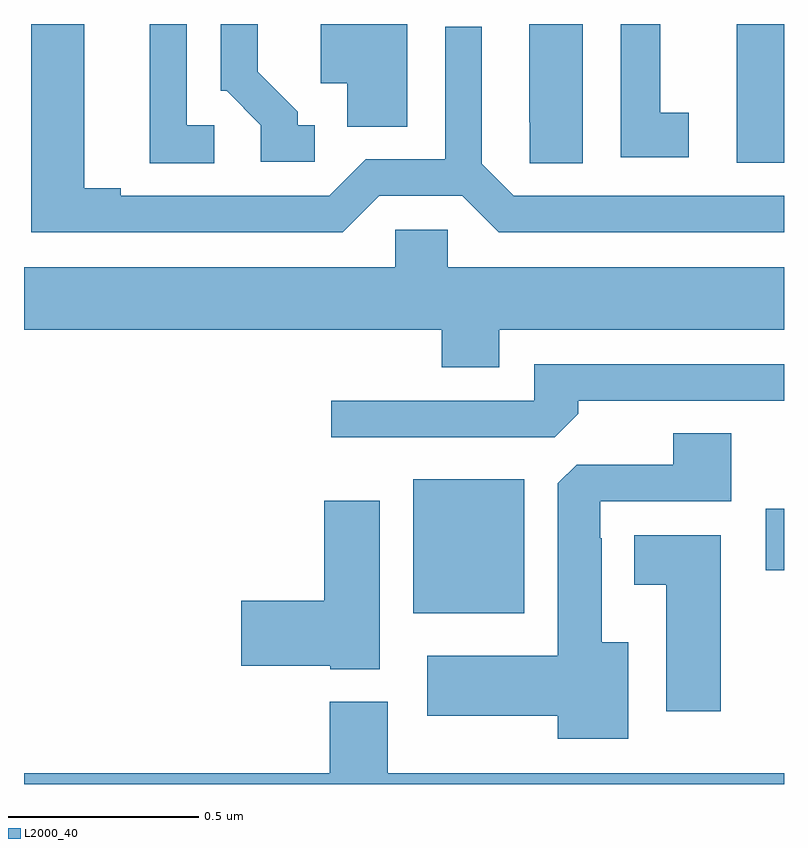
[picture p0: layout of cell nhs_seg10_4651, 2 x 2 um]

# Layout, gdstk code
import gdstk
lib = gdstk.Library(unit=1e-6, precision=1e-09)
def R(c, l, rs):  # rectangles x0, y0, x1, y1
    for r in rs: c.add(gdstk.rectangle(r[:2], r[2:], *l))
def P(c, l, *ps):  # polygons
    for p in ps: c.add(gdstk.Polygon(p, *l))
L2000_40 = (2000, 40)

nhs_seg10_4651 = lib.new_cell('nhs_seg10_4651')
R(nhs_seg10_4651, L2000_40, [(170.024,1252.949,170.317,1253.302), (170.952,1253.062,171,1253.224), (170.876,1254.135,171,1254.5)])
P(nhs_seg10_4651, L2000_40, [(170.008,1254.5),(169.781,1254.5),(169.781,1254.344),(169.85,1254.344),(169.85,1254.229),(170.008,1254.229)],
  [(169.935,1254.048),(170.153,1254.048),(170.249,1253.952),(171,1253.952),(171,1254.048),(170.289,1254.048),(170.205,1254.132),(170.205,1254.493),(170.109,1254.493),(170.109,1254.144),(169.899,1254.144),(169.803,1254.048),(169.255,1254.048),(169.255,1254.068),(169.159,1254.068),(169.159,1254.5),(169.019,1254.5),(169.019,1253.952),(169.839,1253.952)],
  [(169.501,1254.234),(169.428,1254.234),(169.428,1254.5),(169.331,1254.5),(169.331,1254.133),(169.501,1254.133)],
  [(169.765,1254.234),(169.72,1254.234),(169.72,1254.269),(169.615,1254.374),(169.615,1254.5),(169.518,1254.5),(169.518,1254.324),(169.533,1254.324),(169.623,1254.234),(169.623,1254.138),(169.765,1254.138)],
  [(170.749,1254.266),(170.674,1254.266),(170.674,1254.5),(170.57,1254.5),(170.57,1254.15),(170.749,1254.15)],
  [(170.47,1254.5),(170.33,1254.5),(170.33,1254.241),(170.331,1254.241),(170.331,1254.133),(170.47,1254.133)],
  [(170.251,1253.696),(171,1253.696),(171,1253.86),(170.115,1253.86),(170.115,1253.958),(169.977,1253.958),(169.977,1253.86),(169,1253.86),(169,1253.696),(170.099,1253.696),(170.099,1253.597),(170.251,1253.597)],
  [(170.459,1253.474),(170.459,1253.508),(171,1253.508),(171,1253.604),(170.343,1253.604),(170.343,1253.508),(169.809,1253.508),(169.809,1253.412),(170.397,1253.412)],
  [(170.59,1252.873),(170.521,1252.873),(170.521,1253.147),(170.517,1253.147),(170.517,1253.244),(170.861,1253.244),(170.861,1253.423),(170.708,1253.423),(170.708,1253.34),(170.454,1253.34),(170.405,1253.291),(170.405,1252.837),(170.061,1252.837),(170.061,1252.679),(170.405,1252.679),(170.405,1252.619),(170.59,1252.619)],
  [(169.936,1253.245),(169.79,1253.245),(169.79,1252.982),(169.572,1252.982),(169.572,1252.811),(169.806,1252.811),(169.806,1252.802),(169.936,1252.802)],
  [(170.833,1253.155),(170.606,1253.155),(170.606,1253.024),(170.69,1253.024),(170.69,1252.692),(170.833,1252.692)],
  [(171,1252.528),(169.957,1252.528),(169.957,1252.717),(169.805,1252.717),(169.805,1252.528),(169,1252.528),(169,1252.5),(171,1252.5)])

lib.write_gds('nhs_seg10_4651.gds')
